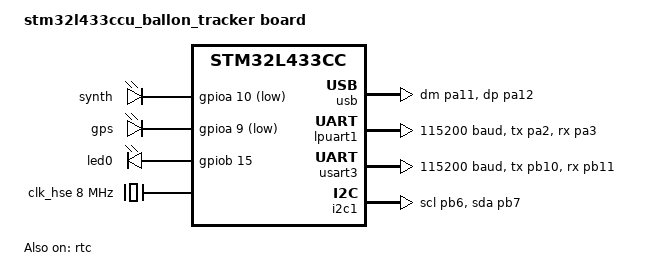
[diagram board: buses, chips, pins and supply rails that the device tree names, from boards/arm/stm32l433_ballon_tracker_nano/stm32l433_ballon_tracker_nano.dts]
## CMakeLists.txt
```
# SPDX-License-Identifier: Apache-2.0

cmake_minimum_required(VERSION 3.20.0)
list(APPEND BOARD_ROOT ${CMAKE_CURRENT_SOURCE_DIR}/)
find_package(Zephyr REQUIRED HINTS $ENV{ZEPHYR_BASE})
project(stm32l433_baloon_tracker)

target_sources(app PRIVATE 
    src/main.c
    src/radio_thread.c
    src/drivers/WSPR.c
    src/drivers/nhash.c
    src/drivers/Si5351/si5351.c
)
```

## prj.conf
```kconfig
CONFIG_MAIN_STACK_SIZE=4096
CONFIG_SYSTEM_WORKQUEUE_STACK_SIZE=4096
CONFIG_IDLE_STACK_SIZE=768

CONFIG_USB_DEVICE_STACK=y
CONFIG_USB_DEVICE_PRODUCT="Ballon tracker"
CONFIG_USB_DEVICE_MANUFACTURER="SP4SWD"
CONFIG_USB_SELF_POWERED=y
CONFIG_USB_DEVICE_VID=0x0483
CONFIG_USB_DEVICE_PID=0x5740
CONFIG_UART_LINE_CTRL=y
CONFIG_SHELL_BACKEND_SERIAL_CHECK_DTR=y
CONFIG_USB_DEVICE_INITIALIZE_AT_BOOT=n
CONFIG_SHELL_BACKEND_SERIAL_INIT_PRIORITY=51

#this is for debug purposes only
CONFIG_DEBUG_OPTIMIZATIONS=y
CONFIG_USE_SEGGER_RTT=y
CONFIG_RTT_CONSOLE=y
#^^

CONFIG_UART_CONSOLE=n

CONFIG_LOG=y
CONFIG_LOG_MODE_MINIMAL=y

CONFIG_SERIAL=y
CONFIG_CONSOLE=y
CONFIG_SHELL=y
CONFIG_SHELL_HISTORY=y
CONFIG_SHELL_CMDS=n
CONFIG_SHELL_METAKEYS=n
CONFIG_SHELL_GETOPT=y
CONFIG_SHELL_STATS=n
CONFIG_SHELL_LOG_BACKEND=n
CONFIG_DEVMEM_SHELL=n
CONFIG_HWINFO_SHELL=n
CONFIG_SHELL_PROMPT_UART="sh:~$ "
CONFIG_SHELL_VT100_COMMANDS=y
CONFIG_SHELL_VT100_COLORS=n
CONFIG_SHELL_WILDCARD=n
CONFIG_SHELL_ARGC_MAX=20
CONFIG_SHELL_PRINTF_BUFF_SIZE=128
CONFIG_SHELL_DEFAULT_TERMINAL_WIDTH=128
#CONFIG_SHELL_MINIMAL=y

CONFIG_KERNEL_SHELL=y
CONFIG_REBOOT=y

CONFIG_I2C=y
CONFIG_I2C_SHELL=y
CONFIG_DEVICE_SHELL=y
```

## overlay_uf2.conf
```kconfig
CONFIG_BUILD_OUTPUT_UF2=y
CONFIG_ROM_START_OFFSET=0x8000
```

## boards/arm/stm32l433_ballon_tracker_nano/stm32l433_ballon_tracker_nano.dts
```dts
/*
 * Copyright (c) 2021 Matija Tudan
 *
 * SPDX-License-Identifier: Apache-2.0
 */

/dts-v1/;
#include <st/l4/stm32l433Xc.dtsi>
#include <st/l4/stm32l433c(b-c)ux-pinctrl.dtsi>

/ {
	model = "stm32l433ccu_ballon_tracker board";
	compatible = "st,stm32l433cc";

	chosen {
		zephyr,console = &lpuart1;
		zephyr,shell-uart = &cdc_acm_uart0;
		zephyr,sram = &sram0;
		zephyr,flash = &flash0;
	};
};

zephyr_udc0: &usb {
	pinctrl-0 = <&usb_dm_pa11 &usb_dp_pa12>;
	pinctrl-names = "default";
	status = "okay";
	cdc_acm_uart0: cdc_acm_uart0 {
		compatible = "zephyr,cdc-acm-uart";
		label = "CDC_ACM_0";
	};
};

&clk_hsi48 {
	status = "okay";
};

&clk_hsi {
	status = "okay";
};

&clk_hse {
	status = "okay";
	clock-frequency = <DT_FREQ_M(8)>;
};

&pll {
	div-m = <1>;
	mul-n = <12>;
	div-p = <7>;
	div-q = <2>;
	div-r = <4>;
	/* HSE works bad in variable power input */
	clocks = <&clk_hsi>;
	status = "okay";
};

&rcc {
	clocks = <&pll>;
	clock-frequency = <DT_FREQ_M(48)>;
	ahb-prescaler = <1>;
	apb1-prescaler = <1>;
	apb2-prescaler = <1>;
};

&lpuart1 {
	pinctrl-0 = <&lpuart1_tx_pa2 &lpuart1_rx_pa3>;
	pinctrl-names = "default";
	current-speed = <115200>;
	status = "okay";
};

&usart3 {
	pinctrl-0 = <&usart3_tx_pb10 &usart3_rx_pb11>;
	pinctrl-names = "default";
	current-speed = <115200>;
	status = "okay";
};

&i2c1 {
	pinctrl-0 = <&i2c1_scl_pb6 &i2c1_sda_pb7>;
	pinctrl-names = "default";
	//clock-frequency = <I2C_BITRATE_FAST>;
	status = "okay";
};

&rtc {
	status = "okay";
};

/ {
	pwr_outs{
		compatible = "gpio-leds";
		synth: synth_ {
			gpios = <&gpioa 10 (GPIO_ACTIVE_LOW | GPIO_OPEN_DRAIN)>;
		};
		gps: gps_ {
			gpios = <&gpioa 9 (GPIO_OPEN_DRAIN | GPIO_ACTIVE_LOW)>;
		};
	};

	leds {
		compatible = "gpio-leds";
		led0: led_0 {
			gpios = <&gpiob 15 GPIO_ACTIVE_HIGH>;
		};
	};

	aliases {
		pwrsynth = &synth;
		pwrgps = &gps;
		myled0 = &led0;
	};

};


&flash0 {
	partitions {
		compatible = "fixed-partitions";
		#address-cells = <1>;
		#size-cells = <1>;

		/*
		 * Reserve the final 16 KiB for file system partition - for future
		 */
		storage_partition: partition@3c000 {
			label = "storage";
			reg = <0x0003c000 DT_SIZE_K(16)>;
		};
	};
};
```

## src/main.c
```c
/*
 * Copyright (c) SP4SWD 2023
 */

#include "../inc/support.h"

LOG_MODULE_REGISTER(baloon);

#define RADIO_THREAD_STACK_SIZE (2048)
#define RADIO_THREAD_PRIORITY (7)
K_THREAD_STACK_DEFINE(radio_thread_stack, RADIO_THREAD_STACK_SIZE);
struct k_thread radio_thread_data;
K_THREAD_DEFINE(radio_thread_id, RADIO_THREAD_STACK_SIZE, radio_thread, NULL,
                NULL, NULL, RADIO_THREAD_PRIORITY, 0, 0);

/* 1000 msec = 1 sec */
#define SLEEP_TIME_MS (1000)
#define LED0_NODE DT_ALIAS(myled0)
static const struct gpio_dt_spec led = GPIO_DT_SPEC_GET(LED0_NODE, gpios);

/* shell */
const struct shell *sh;

void main(void) {
  int ret;
  LOG_INF("Tracker start");

  //radio_poweron();

  sh = shell_backend_uart_get_ptr();
  if (sh == NULL) {
    LOG_INF("Shell on usb not ready");
  }

  if (!gpio_is_ready_dt(&led)) {
    LOG_INF("LED0 not ready");
    return;
  }

  ret = gpio_pin_configure_dt(&led, GPIO_OUTPUT_ACTIVE);
  if (ret < 0) {
    LOG_INF("Can`t configure LED0");
    return;
  }

  usb_enable(NULL);

  while (1) {
    k_msleep(SLEEP_TIME_MS);

    ret = gpio_pin_toggle_dt(&led);
    if (ret < 0) {
      return;
    }
  }
}
```

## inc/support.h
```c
/*
 *  Copyright (c) Piotr Parfeniuk 2023
 */
#ifndef _SUPPORT_H_
#define _SUPPORT_H_

#include <stdint.h>
#include <stdio.h>
#include <stdlib.h>
#include <string.h>
#include <zephyr/device.h>
#include <zephyr/devicetree.h>
#include <zephyr/drivers/gpio.h>
#include <zephyr/kernel.h>
#include <zephyr/logging/log.h>
#include <zephyr/shell/shell.h>
#include <zephyr/shell/shell_uart.h>
#include <zephyr/usb/usb_device.h>

void radio_thread(void);
bool radio_poweron(void);

#endif /* _SUPPORT_H_ */
```

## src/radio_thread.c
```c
/*
 * Copyright (c) SP4SWD 2023
 */
#include "../inc/support.h"
#include "drivers/Si5351/si5351.h"
#include "drivers/WSPR.h"

LOG_MODULE_REGISTER(radio);

#define SLEEP_TIME_MS 8900
static const struct gpio_dt_spec pwr_synth =
    GPIO_DT_SPEC_GET(DT_ALIAS(pwrsynth), gpios);

bool radio_poweron(void) {
  int ret;
  /* Power pin configuration first */
  if (!gpio_is_ready_dt(&pwr_synth)) {
    LOG_INF("Radio pwr not ready");
    return false;
  }

  ret = gpio_pin_configure_dt(&pwr_synth, GPIO_OUTPUT_INACTIVE);
  if (ret < 0) {
    LOG_INF("Can`t configure radio pwr");
    return false;
  }

  ret = gpio_pin_set_dt(&pwr_synth, 1);
  if (ret < 0) {
    LOG_INF("Can`t turn on radio");
    return false;
  }
  LOG_INF("Radio started");
  k_msleep(10);
  return true;
}

void radio_thread(void) {
  int ret;

  LOG_INF("Radio starting");

  radio_poweron();

  ret = SI5351_init();
  if (ret) {
    LOG_INF("SI5351_init failed: %d\n", ret);
    return;
  }

  SI5351_frequency(SI5351_FREQUENCY);

  /* thread while loop */
  while (1) {

    /* CONSTRUCT WSPR EXTENDED MESSAGE */
    WSPR_encode_msg_extended(10.0f, 10.0f, 1000, WSPR_CALLSIGN);
    WSPR_create_tones();

    /* transmit */
    WSPR_transmit();

    k_msleep(SLEEP_TIME_MS);
    k_yield();
  }
}
```
